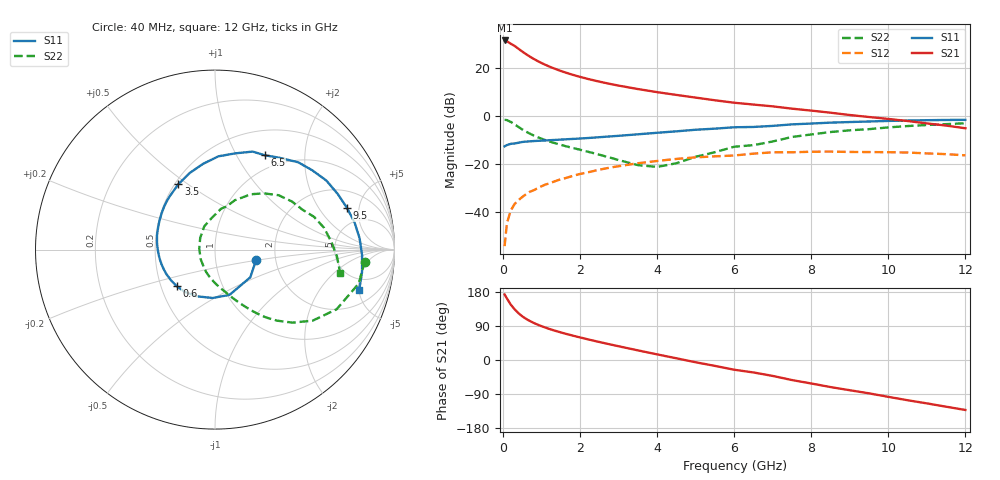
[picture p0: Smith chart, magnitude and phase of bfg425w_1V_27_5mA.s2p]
! Filename: 127bfg425.001
! BFG425W Field C1
! V1=8.847E-001V,V2=1.000E+000V, I1=4.360E-004A, I2=2.749E-002A
# GHz  S  MA  R 50
!  S11  S21  S12  S22
!Freq(GHz)  Mag  Ang  Mag  Ang  Mag  Ang  Mag  Ang
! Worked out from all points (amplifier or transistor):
!   44 points, 40 MHz to 12 GHz, reference 50 ohm
!   highest |S21| = 31.4 dB at 40 MHz (marker M1)
!   |S21| within 3 dB of that: start of sweep to 361.5 MHz
!   unconditionally stable (mu >= 1): start of sweep to 74.84 MHz; 887.2 MHz to end of sweep
!   at 700 MHz: K = 0.91, MSG = 28.0 dB, |S12| = -31.4 dB
!   at 2.4 GHz: K = 1.22, MAG = 15.8 dB, |S12| = -22.6 dB
!   at 12 GHz: K = 1.38, MAG = 1.9 dB, |S12| = -16.3 dB
!   S11 on the Smith chart (normalised r, x): 40 MHz: 1.58, -0.20; 600 MHz: 0.60, -0.27; 3.5 GHz: 0.52, +0.46; 6.5 GHz: 0.81, +1.31; 9.5 GHz: 3.27, +3.74; 12 GHz: 3.45, -5.05
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0.04  0.236 -14.8  36.96 173.0  0.002 66.7  0.837 -4.6
0.1  0.25 -38.2  35.63 162.4  0.006 79.1  0.823 -13.3
0.2  0.265 -72.2  31.58 145.9  0.011 72.4  0.755 -26.1
0.3  0.27 -93.0  28.45 133.8  0.015 67.6  0.673 -36.0
0.4  0.279 -111.2  24.83 123.6  0.018 64.5  0.594 -43.2
0.5  0.29 -125.6  21.71 115.1  0.021 62.6  0.527 -48.7
0.6  0.295 -136.5  19.12 108.4  0.024 61.4  0.474 -53.0
0.7  0.299 -145.2  16.99 102.7  0.027 60.5  0.429 -56.4
0.8  0.303 -152.8  15.24 97.6  0.029 59.9  0.393 -59.3
0.9  0.306 -159.2  13.8 93.2  0.032 59.2  0.363 -61.8
1.1  0.312 -169.9  11.53 85.5  0.038 57.7  0.317 -66.4
1.3  0.318 -178.7  9.869 78.8  0.043 56.3  0.281 -70.7
1.6  0.328 170.1  8.091 69.9  0.051 53.5  0.24 -76.8
2.2  0.35 151.6  5.891 54.6  0.068 46.5  0.182 -91.2
2.8  0.379 135.7  4.598 40.7  0.086 38.4  0.136 -110.5
3.5  0.418 119.2  3.629 25.4  0.105 28.0  0.096 -146.1
4.5  0.482 98.0  2.742 4.5  0.129 12.0  0.105 141.7
6.5  0.594 62.3  1.731 -32.9  0.166 -17.4  0.249 75.0
8.5  0.73 31.8  1.173 -71.4  0.183 -53.3  0.466 40.6
9.5  0.771 17.5  0.955 -88.0  0.179 -69.0  0.535 24.7
10.5  0.808 4.5  0.789 -106.1  0.175 -86.5  0.62 11.2
12  0.834 -15.5  0.558 -131.9  0.153 -114.0  0.709 -10.4
